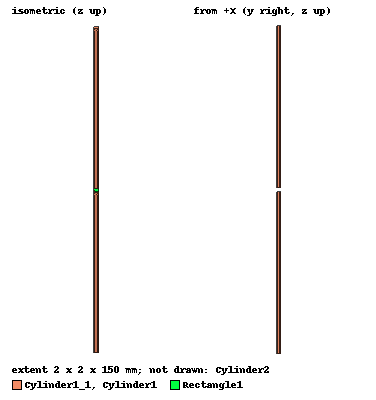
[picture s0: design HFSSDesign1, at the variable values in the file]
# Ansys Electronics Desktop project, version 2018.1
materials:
  vacuum: permittivity=1
  air: permittivity=1.0006 permeability=1.0000004
  copper: permeability=0.999991 conductivity=58000000

design HFSSDesign1 (HFSS, DrivenModal, model units mm)
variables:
  l = 1mm
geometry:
  Cylinder1 [copper] = cylinder(axis=X, base_centre=(-1mm, 0mm, 0mm), radius=1mm, height=-75mm+l)
  Cylinder1_1 [copper] = Cylinder1.duplicate_around_axis(axis=Z, angle=180deg, total=2)
  Rectangle1 = rectangle(corner=(-1mm, -1mm, 0mm), x_size=2mm, y_size=2mm)
  Cylinder2 [air] = cylinder(axis=X, base_centre=(-151mm, 0mm, 0mm), radius=75mm, height=302mm)
  [Cylinder2, Cylinder1, Cylinder1_1].rotate(axis=Y, angle=90deg)
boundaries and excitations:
  Rad1: Radiation Objects=Cylinder2
  1: Lumped Port Objects=Rectangle1 Modes{Mode1{IntLine{middle of Rectangle1.edge(x opposite corner) -> middle of Rectangle1.edge(x at corner)} CharImp=Zpi RenormImp=50ohm}} Impedance=50ohm
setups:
  Setup1: HfssDriven Frequency=1.3GHz MaxDeltaS=0.02 MaximumPasses=20 MinimumPasses=1 MinimumConvergedPasses=1 PercentRefinement=30 BasisOrder=1 PortAccuracy=2
    sweep Sweep: 200MHz to 2GHz, 451 points; Type=Interpolating InterpTolerance=0.5 InterpMaxSolns=250 InterpUsePortImped=false PassivityErrorTolerance=0.0001
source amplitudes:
  1:1: 1W 0deg
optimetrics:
  ParametricSetup1: Parametric Sim._Setups=[Setup1]
    sweep l: LIN 1mm 25mm 1mm LIN 22mm 24mm 0.5mm
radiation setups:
  Infinite Sphere1: Infinite Sphere Theta=0deg..360deg step 2deg Phi=0deg..360deg step 2deg
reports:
  S Parameter Plot 1: dB(S(1,1)) vs Freq on Setup1 : Sweep [l=all]; markers m1 at 1.308GHz
